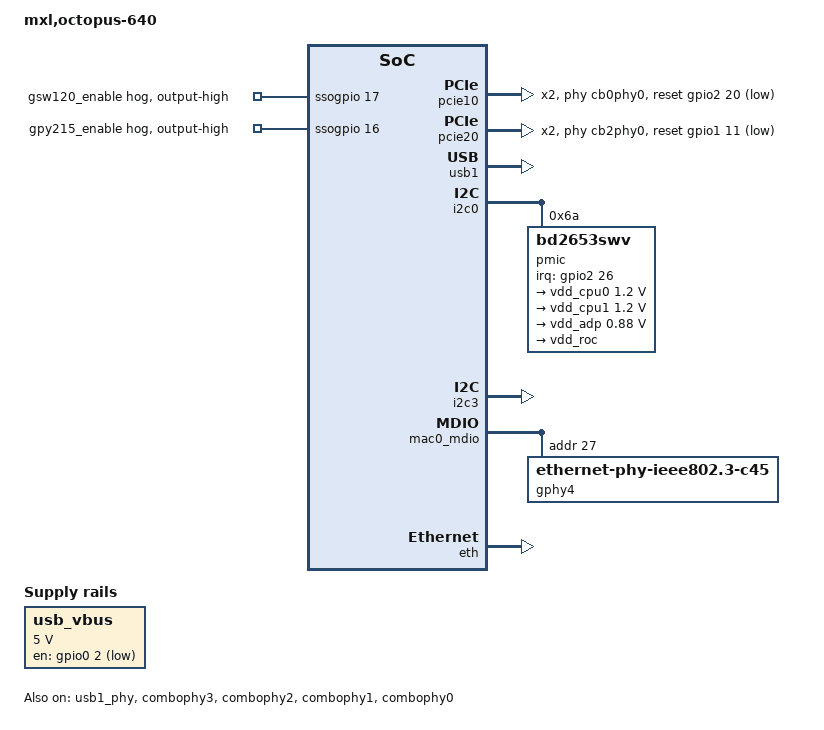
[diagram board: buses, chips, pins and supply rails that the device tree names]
// SPDX-License-Identifier: GPL-2.0
/*
 * Copyright (C) 2024 MaxLinear, Inc.
 */

#include <dt-bindings/gpio/gpio.h>
#include <dt-bindings/interrupt-controller/irq.h>
#include <dt-bindings/thermal/thermal.h>

#include "lightning_mountain_c.dtsi"
#include "firewall_domain.dtsi"
#include "noc_firewall.dtsi"
#include "lgp_thermal.dtsi"

/ {
	model = "mxl,octopus-640";

	chosen {
		/* ramfs */
		bootargs = "earlycon console=ttyLTQ0,115200n8r root=/dev/ram init=/init maxcpus=2 initcall_debug=0 clk_ignore_unused loglevel=8";
		stdout-path = "serial0";
	};
};

/* EMMC setting */
&emmc {
	status = "disabled";
	bus-width = <8>;
	non-removable;
	no-mmc-hs400;
};

&emmc_phy {
	status = "disabled";
};

/* ebu nand */
&ebu_nand {
	status = "disabled";
	nand,cs = <1>;
	nand-ecc-mode = "hw";
	nand-ecc-algo = "bch";
	nand-ecc-strength = <8>;
	pinctrl-names = "default";
	pinctrl-0 = <&pinctrl_ebu_nand_base &pinctrl_ebu_nand_cs1>;
};

/* qpsi nand */
&pinctrl_qspi {
	intel,slew-rate = <1>;
	intel,drive-current = <3>;
};

&qspi0 {
	status = "disabled";
	mxl-spinand@1 {
		#address-cells = <1>;
		#size-cells = <1>;
		compatible = "mxl,spinand";
		reg = <1 1>;
		linux,mtd-name = "nand.0";
		spi-max-frequency = <50000000>;
		page-size = <2048>;
		block-size = <17>; // 2^17, 128KB
		spi-tx-bus-width = <1>;
		spi-rx-bus-width = <1>;
		pinctrl-names = "default";
		pinctrl-0 = <&pinctrl_qspi &pinctrl_qspi_cs1>;

		read-delay = <3>;
		tshsl-ns = <200>;
		tsd2d-ns = <255>;
		tchsh-ns = <20>;
		tslch-ns = <20>;

		partition@0 {
		    reg = <0x0 0x80000>;
		    label = "uboot";
		    read-only;
		};

		partition@c0000 {
		    reg = <0xc0000 0x500000>;
		    label = "uboot_env";
		};

		partition@800000 {
		    reg = <0x800000 0x800000>;
		    label = "image0";
		};

		partition@1000000 {
		    reg = <0x1000000 0x20000>;
		    label = "image1";
		};
	};
};

&gphy0 {
	status = "disabled";
	reg = <0x10>;
};

&gphy1 {
	status = "disabled";
	reg = <0x11>;
};

&gphy2 {
	status = "disabled";
	reg = <0x12>;
};

&gphy3 {
	status = "disabled";
	reg = <0x13>;
};

/******************************************************************************
 ** Board configuration: XPCS SERDES Parameters
 ******************************************************************************/
&wan_xpcs {
	rx_attn_lvl = <0 0 0 0 0 0 0 0>;
	rx_ctle_boost = <18 18 18 16 16 16 16 16>;
	rx_ctle_pole = <0 0 0 2 2 2 2 2>;
	rx_vga1_gain = <4 4 4 5 5 5 5 5>;
	rx_vga2_gain = <4 4 4 5 5 5 5 5>;
	rx_dfe_bypass = <1 1 1 0 0 0 0 0>;
	cont_adapt_en = <0 0 0 1 1 1 1 1>;
	rx_cali = <0 0 0 0 0 0 0 0>;
	tx_vboost_en = <1 1 1 1 1 1 1 1>;
	tx_vboost_lvl = <5 5 5 5 5 5 5 5>;
	tx_iboost_lvl = <15 15 15 15 15 15 15 15>;
	tx_eq_main = <16 16 19 28 28 28 28 28>;
	tx_eq_pre = <4 4 4 16 16 16 16 16>;
	tx_eq_post = <4 4 4 32 32 32 32 32>;
	tx_eq_ovrride = <1 1 1 1 1 1 1 1>;
};

&lan_xpcs {
	rx_attn_lvl = <0 0 0 7 7 7 7 7>;
	rx_ctle_boost = <18 18 18 0 0 0 0 0>;
	rx_ctle_pole = <0 0 0 2 2 2 2 2>;
	rx_vga1_gain = <4 4 4 5 5 5 5 5>;
	rx_vga2_gain = <4 4 4 5 5 5 5 5>;
	rx_dfe_bypass = <1 1 1 1 1 1 1 1>;
	cont_adapt_en = <0 0 0 1 1 1 1 1>;
	rx_cali = <0 0 0 0 0 0 0 0>;
	tx_vboost_en = <1 1 1 1 1 1 1 1>;
	tx_vboost_lvl = <5 5 5 5 5 5 5 5>;
	tx_iboost_lvl = <15 15 15 15 15 15 15 15>;
	tx_eq_main = <16 16 19 40 40 40 40 40>;
	tx_eq_pre = <4 4 4 0 0 0 0 0>;
	tx_eq_post = <4 4 4 0 0 0 0 0>;
	tx_eq_ovrride = <1 1 1 1 1 1 1 1>;
};

&hsior_xpcs0 {
	rx_attn_lvl = <0 0 0 0 0 0 0 0>;
	rx_ctle_boost = <18 18 18 16 16 16 16 16>;
	rx_ctle_pole = <0 0 0 2 2 2 2 2>;
	rx_vga1_gain = <4 4 4 5 5 5 5 5>;
	rx_vga2_gain = <4 4 4 5 5 5 5 5>;
	rx_dfe_bypass = <1 1 1 0 0 0 0 0>;
	cont_adapt_en = <0 0 0 1 1 1 1 1>;
	rx_cali = <1 1 1 1 1 1 1 1>;
	tx_vboost_en = <1 1 1 1 1 1 1 1>;
	tx_vboost_lvl = <5 5 5 5 5 5 5 5>;
	tx_iboost_lvl = <15 15 15 15 15 15 15 15>;
	tx_eq_main = <16 16 19 28 28 28 28 28>;
	tx_eq_pre = <4 4 4 16 16 16 16 16>;
	tx_eq_post = <4 4 4 32 32 32 32 32>;
	tx_eq_ovrride = <1 1 1 1 1 1 1 1>;
};

&hsior_xpcs1 {
	rx_attn_lvl = <0 0 0 0 0 0 0 0>;
	rx_ctle_boost = <18 18 18 16 16 16 16 16>;
	rx_ctle_pole = <0 0 0 2 2 2 2 2>;
	rx_vga1_gain = <4 4 4 5 5 5 5 5>;
	rx_vga2_gain = <4 4 4 5 5 5 5 5>;
	rx_dfe_bypass = <1 1 1 0 0 0 0 0>;
	cont_adapt_en = <0 0 0 1 1 1 1 1>;
	rx_cali = <1 1 1 1 1 1 1 1>;
	tx_vboost_en = <1 1 1 1 1 1 1 1>;
	tx_vboost_lvl = <5 5 5 5 5 5 5 5>;
	tx_iboost_lvl = <15 15 15 15 15 15 15 15>;
	tx_eq_main = <16 16 19 28 28 28 28 28>;
	tx_eq_pre = <4 4 4 16 16 16 16 16>;
	tx_eq_post = <4 4 4 32 32 32 32 32>;
	tx_eq_ovrride = <1 1 1 1 1 1 1 1>;
};

/* PCIe */
&pcie10 { /* WiFI */
	status = "okay";
	reset-assert-ms = <200>;
	reset-gpios = <&gpio2 20 GPIO_ACTIVE_LOW>; /* GPIO 84 */
	num-lanes = <2>;
	phys = <&cb0phy0 PHY_TYPE_PCIE_DL>;
};

&pcie20 { /* Docsis */
	status = "okay";
	reset-assert-ms = <200>;
	reset-gpios = <&gpio1 11 GPIO_ACTIVE_LOW>; /* GPIO 43 */
	num-lanes = <2>;
	phys = <&cb2phy0 PHY_TYPE_PCIE_DL>;
};

/ {
	aliases {
		eth0_1 = &lan1; /* 10G  LAN    */
		eth0_2 = &lan2; /* P34x port 0 */
		eth0_3 = &lan3; /* P34x Port 1 */
		eth0_4 = &lan4; /* P34x Port 2 */
		eth0_5 = &lan5; /* P34x port 3 */
		eth0_6 = &lan6; /* GSWP 120    */
		eth0_7 = &lan7; /* GPY  215    */
		eth0_8 = &lan8; /* AIC 10GPHY  */
	};

	usb_vbus:regulator-vbus {
		compatible = "regulator-fixed";
		regulator-name = "usb0_vbus";
		regulator-min-microvolt = <5000000>;
		regulator-max-microvolt = <5000000>;
		gpio = <&gpio0 2 1>;
		enable-active-low;
	};
};

/* USB */
&usb1_phy {
	status = "okay";
	vbus-supply = <&usb_vbus>;
};

&usb1 {
	status = "okay";
};

/* I2C */
&i2c0 {
	status = "okay";

	pmic: pmic@6a {
		compatible = "bd2653swv";
		pinctrl-names = "default";
		pinctrl-0 = <&pinctrl_pmic_function>;
		reg = <0x6a>;
		interrupt-parent = <&gpio2>;
		interrupts = <26 IRQ_TYPE_LEVEL_HIGH>;

		vdd_cpu0: BUCK0 {
			regulator-compatible = "buck0";
			regulator-name = "cpu0";
			regulator-min-microvolt = <0>;
			regulator-max-microvolt = <1200000>;
		};

		vdd_cpu1: BUCK1 {
			regulator-compatible = "buck1";
			regulator-name = "cpu1";
			regulator-min-microvolt = <0>;
			regulator-max-microvolt = <1200000>;
		};

		vdd_adp: BUCK2 {
			regulator-compatible = "buck2";
			regulator-name = "adp";
			regulator-min-microvolt = <0>;
			regulator-max-microvolt = <880000>;
		};

		vdd_roc: BUCK3 {
			regulator-compatible = "buck3";
			regulator-name = "roc";
		};
	};
};

&i2c1 {
	status = "disabled";
};

&i2c2 {

	status = "disabled";

	at24: at24@0x50 {
		compatible = "atmel,24c64";
		reg = <0x50>;
		status = "disabled";
	};
};

&i2c3 {
	status = "okay";

	#address-cells = <1>;
	#size-cells = <0>;
	i2c_mux:i2c-mux@70 {
		status = "disabled";
		compatible = "nxp,pca9546";
		#address-cells = <1>;
		#size-cells = <0>;
		reg = <0x70>;
		reset-gpios = <&gpio0 18 GPIO_ACTIVE_LOW>; /* GPIO 18 */
	};

	i2c_expander:i2c_expander@44 {
		#address-cells = <1>;
		#size-cells = <0>;
		compatible = "diodes,pi4io";

		status = "disabled";
		reg = <0x44>;
		gpio-controller;
		#gpio-cells = <2>;
	};
};

&pvt {
	rising-alarm = <85000>;
	rising-hsyt = <84500>;
	falling-alarm = <84500>;
	falling-hsyt = <85000>;
};

&epu {
	vdd-cpu0-supply = <&vdd_cpu0>;
	vdd-cpu1-supply = <&vdd_cpu1>;
	vdd-adp-supply = <&vdd_adp>;
};

/******************************************************************************
 ** Board configuration: Configure LAN/WAN interfaces
 ******************************************************************************/
/ {
	sfp_wan0: sfp-wan0 {
		status = "disabled";
		compatible = "sff,sfp";
		i2c-bus = <&i2c2>;
		los-gpios = <&gpio2 5 GPIO_ACTIVE_HIGH>; /* GPIO 69 */
		mod-def0-gpios = <&gpio2 18 GPIO_ACTIVE_LOW>; /* GPIO 82 */
		maximum-power-milliwatt = <3000>;
		tx-disable-gpios = <&gpio2 9 GPIO_ACTIVE_HIGH>; /* GPIO 73 */
		tx-fault-gpios = <&gpio2 8 GPIO_ACTIVE_HIGH>;  /* GPIO 72 */
	};
};

&pinctrl_mdio_mdc_lan {
	drive-strength = <3>;
};

&mac0_mdio {
	mdc-clkdiv = <62>;

	rtl8261phy_lan: ethernet-phy@0x1D {
		status = "disabled";

		reg = <0x1D>;
		compatible = "ethernet-phy-id001c.caf3", "ethernet-phy-ieee802.3-c45";
		interrupt-parent = <&ioapic1>;
	};

	rtl8261phy_wan: ethernet-phy@0x1C {
		status = "disabled";

		reg = <0x1C>;
		compatible = "ethernet-phy-id001c.caf3", "ethernet-phy-ieee802.3-c45";
		interrupt-parent = <&ioapic1>;
	};

	gphy4: ethernet-phy@0x1B {
		reg = <0x1B>;
		compatible = "ethernet-phy-ieee802.3-c45";
		interrupt-parent = <&ioapic1>;
	};
};

&eth {
	status = "okay";

	lan1: interface@1 {
		status = "disabled";

		#address-cells = <1>;
		#size-cells = <0>;
		compatible = "mxl,pdi";
		mxl,dp-dev-port = <5>;
		mxl,dp-port-id = <5>;
		mxl,xgmac-id = <5>;
		mxl,dp-port-10g;
		mac = <&gsw_mac3>;
		phy = <&rtl8261phy_lan>;
		phy-mode = "usxgmii";

		lan1_eth: ethernet@1 {
			compatible = "mxl,pdi-port";
			reg = <1>;
			phy-handle = <&rtl8261phy_lan>;
			phy-mode = "usxgmii";
		};
	};

	lan2: interface@2 { /* P34x 0 */
		status = "disabled";

		#address-cells = <1>;
		#size-cells = <0>;
		compatible = "mxl,pdi";
		mxl,dp-dev-port = <5>;
		mxl,dp-port-id = <5>;
		mxl,xgmac-id = <5>;
		mac = <&gsw_mac3>;
		p34x-xpcs-node = <&lan_xpcs>;
		managed = "in-band-status";
		phy = <&gphy0>;
		phy-mode = "sgmii";
		lan2_eth: ethernet@2 {
			compatible = "mxl,pdi-port";
			reg = <2>;
			phy-mode = "rgmii";
			phy-handle = <&gphy0>;
		};
	};

	lan3: interface@3 { /* P34x 1 */
		status = "disabled";

		#address-cells = <1>;
		#size-cells = <0>;
		compatible = "mxl,pdi";
		mxl,dp-dev-port = <6>;
		mxl,dp-port-id = <6>;
		mxl,xgmac-id = <6>;
		mac = <&gsw_mac4>;
		p34x-xpcs-node = <&lan_xpcs>;
		managed = "in-band-status";
		phy = <&gphy1>;
		phy-mode = "sgmii";
		lan3_eth: ethernet@3 {
			compatible = "mxl,pdi-port";
			reg = <3>;
			phy-mode = "rgmii";
			phy-handle = <&gphy1>;
		};
	};

	lan4: interface@4 { /* P34x 2 */
		status = "disabled";

		#address-cells = <1>;
		#size-cells = <0>;
		compatible = "mxl,pdi";
		mxl,dp-dev-port = <7>;
		mxl,dp-port-id = <7>;
		mxl,xgmac-id = <7>;
		mac = <&gsw_mac5>;
		p34x-xpcs-node = <&lan_xpcs>;
		managed = "in-band-status";
		phy = <&gphy2>;
		phy-mode = "sgmii";
		lan4_eth: ethernet@4 {
			compatible = "mxl,pdi-port";
			reg = <4>;
			phy-mode = "rgmii";
			phy-handle = <&gphy2>;
		};
	};

	lan5: interface@5 { /* P34x 3 */
		status = "disabled";

		#address-cells = <1>;
		#size-cells = <0>;
		compatible = "mxl,pdi";
		mxl,dp-dev-port = <8>;
		mxl,dp-port-id = <8>;
		mxl,xgmac-id = <8>;
		mac = <&gsw_mac6>;
		p34x-xpcs-node = <&lan_xpcs>;
		managed = "in-band-status";
		phy = <&gphy3>;
		phy-mode = "sgmii";
		lan5_eth: ethernet@5 {
			compatible = "mxl,pdi-port";
			reg = <5>;
			phy-mode = "rgmii";
			phy-handle = <&gphy3>;
		};
	};

	lan6: interface@6 { /* GSW 120 */
		status = "disabled";

		#address-cells = <1>;
		#size-cells = <0>;

		compatible = "mxl,pdi";
		mxl,dp-dev-port = <10>;
		mxl,dp-port-id = <10>;
		mxl,xgmac-id = <10>;
		mac = <&gsw_mac8>;
		phy-mode = "2500base-x";

		fixed-link {
			speed = <2500>;
			full-duplex;
			pause;
			asym-pause;
		};

		lan6_eth: ethernet@1 {
			compatible = "mxl,pdi-port";
			reg = <6>;
		};
	};

	lan7: interface@7 { /* GPY 215 */
		status = "disabled";

		#address-cells = <1>;
		#size-cells = <0>;
		compatible = "mxl,pdi";
		mxl,dp-dev-port = <9>;
		mxl,dp-port-id = <9>;
		mxl,xgmac-id = <9>;
		mac = <&gsw_mac7>;
		phy = <&gphy4>;
		phy-mode = "sgmii";

		lan7_eth: ethernet@7 {
			compatible = "mxl,pdi-port";
			reg = <7>;
			phy-handle = <&gphy4>;
			phy-mode = "rgmii";
		};
	};

	lan8: interface@8 { /* AIC 10GPHY */
		status = "disabled";

		#address-cells = <1>;
		#size-cells = <0>;
		compatible = "mxl,pdi";
		mxl,dp-dev-port = <4>;
		mxl,dp-port-id = <4>;
		mxl,xgmac-id = <4>;
		mxl,dp-port-10g;
		mac = <&gsw_mac2>;
		phy-mode = "usxgmii";

		lan8_eth: ethernet@8 {
			compatible = "mxl,pdi-port";
			reg = <8>;
			phy-mode = "usxgmii";
		};
	};
};

&ssogpio {
	GSW120_gpio17 { /* put gsw120 out of reset */
		gpio-hog;
		gpios = <17 GPIO_ACTIVE_HIGH>;
		output-high;
		line-name = "gsw120_enable";
	};

	GPY215_gpio16 { /* put gpy215 out of reset */
		gpio-hog;
		gpios = <16 GPIO_ACTIVE_HIGH>;
		output-high;
		line-name = "gpy215_enable";
	};
};

/* P34x */
&p34x {
	status = "disabled";
};

&combophy3 {
	status = "okay";
};

&combophy2 {
	status = "okay";
};

&combophy1 {
	status = "okay";
};

&combophy0 {
	status = "okay";
};

/******************************************************************************
**  PCIE devices temperature sensor node definition
*******************************************************************************/
/ {
	wave_6_0: iwlwave@0 {
		compatible = "mxl,wave";
		wave-band = <2>;  /* 6GHz */
		/* type - 0/1,	param - param required for Cooling type
		 * type 0 for Duty Cycle, 1 for Antenna count
		 */
		max-cooling-state = <3>;
		cooling-states = <
			/* type param */
			1  3
			1  2
			1  1
		>;

		#thermal-sensor-cells = <0>;
		#cooling-cells = <2>;
	};

	wave_5_0: iwlwave@1 {
		compatible = "mxl,wave";
		wave-band = <0>;  /* 5GHz */
		/* type - 0/1,	param - param required for Cooling type
		 * type 0 for Duty Cycle, 1 for Antenna count
		 */
		max-cooling-state = <3>;
		cooling-states = <
			/* type param */
			1  3
			1  2
			1  1
		>;

		#thermal-sensor-cells = <0>;
		#cooling-cells = <2>;
	};

	wave_2_4: iwlwave@2 {
		compatible = "mxl,wave";
		wave-band = <1>;  /* 2.4GHz */
		/* type - 0/1,	param - param required for Cooling type
		 * type 0 for Duty Cycle, 1 for Antenna count
		 */
		max-cooling-state = <3>;
		cooling-states = <
			/* type param */
			1  3
			1  2
			1  1
		>;

		#thermal-sensor-cells = <0>;
		#cooling-cells = <2>;
	};
};

/******************************************************************************
 ** Board configuration: Configure DECT interfaces
 ******************************************************************************/
&ssc1 {
	status = "disabled";
	pinctrl-names = "default";
	pinctrl-0 = <&pinctrl_spi1>;
	dect@0 {
		compatible = "intel,dect_spi";
		spi-max-frequency = <4000000>;
		reg = <0>;
		interrupts = <25 IRQ_TYPE_EDGE_FALLING>;
		interrupt-parent = <&gpio2>;
		reset-gpios = <&ssogpio 13 GPIO_ACTIVE_HIGH>;
		intel,dect-cs = <&gpio0 14 GPIO_ACTIVE_LOW >;
		spi-cpol;
		spi-cpha;
	};
};

&cgu0 {
	cgussc {
		#address-cells = <1>;
		#size-cells = <0>;

		/* SSC in LJPLL4 for PCIe */
		cgussc1: cgussc@110 {
			reg = <0x110>;
			intel,ssc-enable = <1>;
			intel,ssc-spread = <5>;
			intel,ssc-dir = <1>; /* 0: center, 1: down */
			intel,ssc-divval = <10>;
		};
	};
};

&pinctrl {
	pinctrl_ledc0_rst: ledc0_rst {
		intel,pins = <9>;
		function = "ssoled0_rst";
		pinmux = <0>;
		groups = "ledc0_rst";
	};
};

&pwm {
	status = "disabled";
	intel,fan-wire = <2>;
	pinctrl-names = "default";
	pinctrl-0 = <&pinctrl_fan_ctrl_in_1 &pinctrl_fan_ctrl_out>;
};

&fan0 {
	status = "disabled";
	pwms = <&pwm 0 40000>;
	#cooling-cells = <2>;
	cooling-levels = <0 30 80 120 150 170 200 220 255>;
};

&crypto {
	inside-secure,no-of-pes = <1>;
};

/ {
	bbu: battery_backup {
		compatible = "mxl,power-bbu";
		status = "disabled";
	};
};
